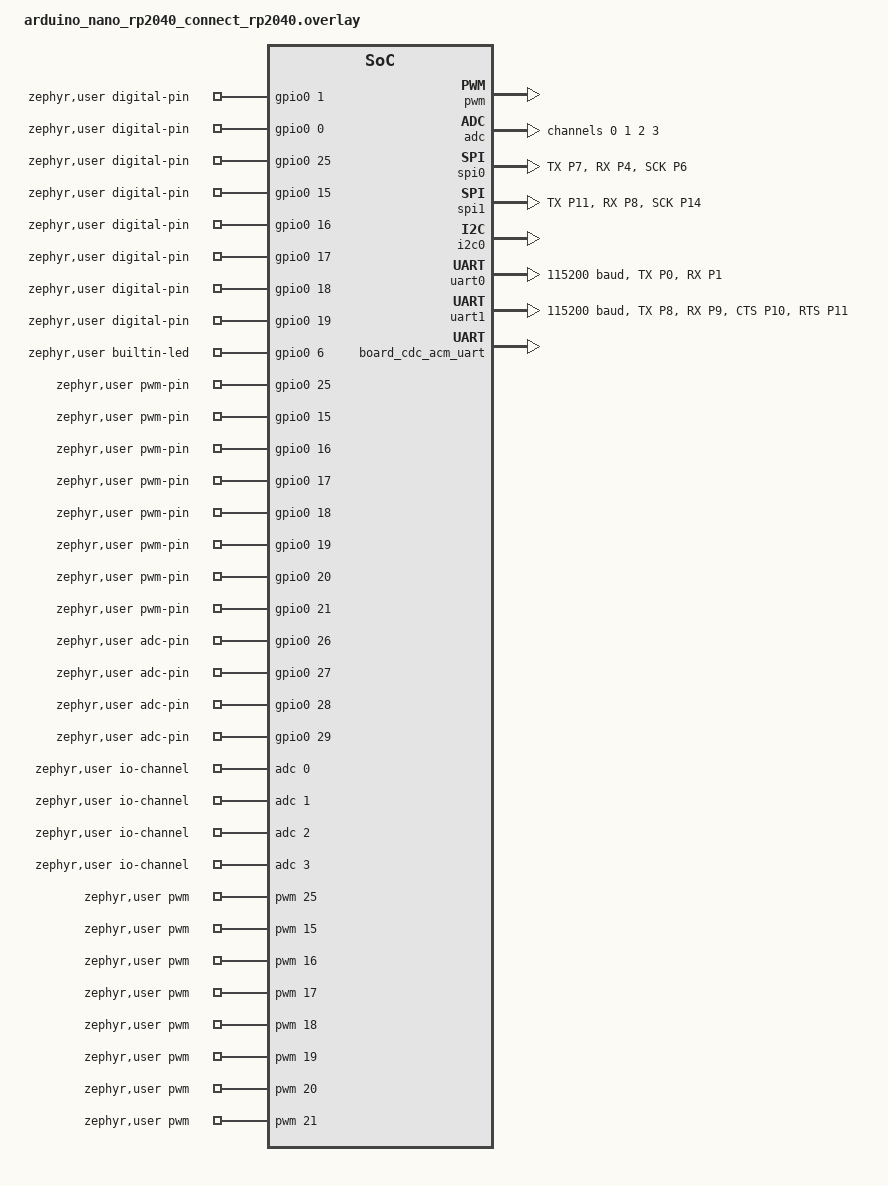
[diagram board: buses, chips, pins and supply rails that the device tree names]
/*
 * Copyright (c) 2025 Arduino SA
 *
 * SPDX-License-Identifier: Apache-2.0
 */

#include <zephyr/dt-bindings/adc/adc.h>

/ {
	zephyr,user {
		/*
		 * Arduino Nano RP2040 Connect pin mapping
		 * Arduino Pin -> RP2040 GPIO
		 */
		digital-pin-gpios = <&gpio0 1 0>,   /* D0  - RX */
				    <&gpio0 0 0>,   /* D1  - TX */
				    <&gpio0 25 0>,  /* D2 */
				    <&gpio0 15 0>,  /* D3 */
				    <&gpio0 16 0>,  /* D4 */
				    <&gpio0 17 0>,  /* D5 */
				    <&gpio0 18 0>,  /* D6 */
				    <&gpio0 19 0>,  /* D7 */
				    <&gpio0 20 0>,  /* D8 */
				    <&gpio0 21 0>,  /* D9 */
				    <&gpio0 5 0>,   /* D10 - SPI SS */
				    <&gpio0 7 0>,   /* D11 - SPI MOSI */
				    <&gpio0 4 0>,   /* D12 - SPI MISO */
				    <&gpio0 6 0>,   /* D13 - SPI SCK / LED */
				    <&gpio0 26 0>,  /* D14 / A0 */
				    <&gpio0 27 0>,  /* D15 / A1 */
				    <&gpio0 28 0>,  /* D16 / A2 */
				    <&gpio0 29 0>,  /* D17 / A3 */
				    <&gpio0 12 0>,  /* D18 / A4 / SDA */
				    <&gpio0 13 0>,  /* D19 / A5 / SCL */
				    <&gpio0 2 0>,   /* D20 - NINA GPIO0 */
				    <&gpio0 24 0>,  /* D21 - IMU IRQ */
				    <&gpio0 22 0>,  /* D22 - PDM DIN */
				    <&gpio0 23 0>,  /* D23 - PDM CLK */
				    <&gpio0 3 0>,   /* D24 - NINA RESET */
				    <&gpio0 8 0>,   /* D25 - NINA SPI MISO */
				    <&gpio0 9 0>,   /* D26 - NINA SPI CS */
				    <&gpio0 10 0>,  /* D27 - NINA SPI ACK */
				    <&gpio0 11 0>,  /* D28 - NINA SPI MOSI */
				    <&gpio0 14 0>;  /* D29 - NINA SPI SCK */

		builtin-led-gpios = <&gpio0 6 0>;  /* D13 = GPIO6 */

		/*
		 * PWM-capable pins on Arduino Nano RP2040 Connect
		 * Listed by Arduino pin number with corresponding GPIO
		 */
		pwm-pin-gpios =     <&gpio0 25 0>,  /* D2  -> GPIO25 -> PWM4B */
				    <&gpio0 15 0>,  /* D3  -> GPIO15 -> PWM7B */
				    <&gpio0 16 0>,  /* D4  -> GPIO16 -> PWM0A */
				    <&gpio0 17 0>,  /* D5  -> GPIO17 -> PWM0B */
				    <&gpio0 18 0>,  /* D6  -> GPIO18 -> PWM1A */
				    <&gpio0 19 0>,  /* D7  -> GPIO19 -> PWM1B */
				    <&gpio0 20 0>,  /* D8  -> GPIO20 -> PWM2A */
				    <&gpio0 21 0>,  /* D9  -> GPIO21 -> PWM2B */
				    <&gpio0 5 0>,   /* D10 -> GPIO5  -> PWM2B */
				    <&gpio0 7 0>,   /* D11 -> GPIO7  -> PWM3B */
				    <&gpio0 4 0>,   /* D12 -> GPIO4  -> PWM2A */
				    <&gpio0 6 0>;   /* D13 -> GPIO6  -> PWM3A (LED) */

		adc-pin-gpios =     <&gpio0 26 0>,  /* A0 -> GPIO26 -> ADC0 */
				    <&gpio0 27 0>,  /* A1 -> GPIO27 -> ADC1 */
				    <&gpio0 28 0>,  /* A2 -> GPIO28 -> ADC2 */
				    <&gpio0 29 0>;  /* A3 -> GPIO29 -> ADC3 */

		pwms =  <&pwm 25 255 PWM_POLARITY_NORMAL>,  /* D2  GPIO25 */
			<&pwm 15 255 PWM_POLARITY_NORMAL>,  /* D3  GPIO15 */
			<&pwm 16 255 PWM_POLARITY_NORMAL>,  /* D4  GPIO16 */
			<&pwm 17 255 PWM_POLARITY_NORMAL>,  /* D5  GPIO17 */
			<&pwm 18 255 PWM_POLARITY_NORMAL>,  /* D6  GPIO18 */
			<&pwm 19 255 PWM_POLARITY_NORMAL>,  /* D7  GPIO19 */
			<&pwm 20 255 PWM_POLARITY_NORMAL>,  /* D8  GPIO20 */
			<&pwm 21 255 PWM_POLARITY_NORMAL>,  /* D9  GPIO21 */
			<&pwm 5 255 PWM_POLARITY_NORMAL>,   /* D10 GPIO5  */
			<&pwm 7 255 PWM_POLARITY_NORMAL>,   /* D11 GPIO7  */
			<&pwm 4 255 PWM_POLARITY_NORMAL>,   /* D12 GPIO4  */
			<&pwm 6 255 PWM_POLARITY_NORMAL>;   /* D13 GPIO6  */

		io-channels =   <&adc 0>,  /* A0 */
				<&adc 1>,  /* A1 */
				<&adc 2>,  /* A2 */
				<&adc 3>;  /* A3 */

		serials = <&board_cdc_acm_uart>, <&uart0>, <&uart1>;
		cdc-acm = <&board_cdc_acm_uart>;
		i2cs = <&i2c0>;
		spis = <&spi0>, <&spi1>;
	};
};

&pinctrl {
	/*
	 * PWM pin control
	 * PWM slice assignment: GPIO / 2 (integer division)
	 * PWM channel: A if GPIO even, B if GPIO odd
	 */

	/* D4 -> GPIO16 -> PWM0A */
	pwm_ch0a_default: pwm_ch0a_default {
		group1 {
			pinmux = <PWM_0A_P16>;
		};
	};

	/* D5 -> GPIO17 -> PWM0B */
	pwm_ch0b_default: pwm_ch0b_default {
		group1 {
			pinmux = <PWM_0B_P17>;
		};
	};

	/* D6 -> GPIO18 -> PWM1A */
	pwm_ch1a_default: pwm_ch1a_default {
		group1 {
			pinmux = <PWM_1A_P18>;
		};
	};

	/* D7 -> GPIO19 -> PWM1B */
	pwm_ch1b_default: pwm_ch1b_default {
		group1 {
			pinmux = <PWM_1B_P19>;
		};
	};

	/*
	  * D8 -> GPIO20 -> PWM2A,
	  * D12 -> GPIO4 -> PWM2A
	*/
	pwm_ch2a_default: pwm_ch2a_default {
		group1 {
			pinmux = <PWM_2A_P4>, <PWM_2A_P20>;
		};
	};

	/* D9 -> GPIO21 -> PWM2B, D10 -> GPIO5 -> PWM2B */
	pwm_ch2b_default: pwm_ch2b_default {
		group1 {
			pinmux = <PWM_2B_P5>, <PWM_2B_P21>;
		};
	};

	/* D13/LED -> GPIO6 -> PWM3A */
	pwm_ch3a_default: pwm_ch3a_default {
		group1 {
			pinmux = <PWM_3A_P6>;
		};
	};

	/* D11 -> GPIO7 -> PWM3B */
	pwm_ch3b_default: pwm_ch3b_default {
		group1 {
			pinmux = <PWM_3B_P7>;
		};
	};

	/* D2 -> GPIO25 -> PWM4B */
	pwm_ch4b_default: pwm_ch4b_default {
		group1 {
			pinmux = <PWM_4B_P25>;
		};
	};

	/* D3 -> GPIO15 -> PWM7B */
	pwm_ch7b_default: pwm_ch7b_default {
		group1 {
			pinmux = <PWM_7B_P15>;
		};
	};

	/*
	 * SPI0 pin control
	 * MISO (D12) -> GPIO4
	 * MOSI (D11) -> GPIO7
	 * SCK  (D13) -> GPIO6
	 * SS   (D10) -> GPIO5 (directly controlled)
	 */
	spi0_default: spi0_default {
		group1 {
			pinmux = <SPI0_TX_P7>;  /* MOSI -> GPIO7 */
		};
		group2 {
			pinmux = <SPI0_RX_P4>;  /* MISO -> GPIO4 */
			input-enable;
		};
		group3 {
			pinmux = <SPI0_SCK_P6>; /* SCK -> GPIO6 */
		};
	};

	/*
	 * SPI1 pin control (NINA WiFi module)
	 * MISO (D25) -> GPIO8
	 * MOSI (D28) -> GPIO11
	 * SCK  (D29) -> GPIO14
	 * CS   (D26) -> GPIO9 (software controlled)
	 */
	spi1_default: spi1_default {
		group1 {
			pinmux = <SPI1_TX_P11>;  /* MOSI -> GPIO11 */
		};
		group2 {
			pinmux = <SPI1_RX_P8>;   /* MISO -> GPIO8 */
			input-enable;
		};
		group3 {
			pinmux = <SPI1_SCK_P14>; /* SCK -> GPIO14 */
		};
	};

	/*
	 * I2C0 pin control
	 * SDA (D18) -> GPIO12
	 * SCL (D19) -> GPIO13
	 */
	i2c0_default: i2c0_default {
		group1 {
			pinmux = <I2C0_SDA_P12>, <I2C0_SCL_P13>;
			input-enable;
			input-schmitt-enable;
		};
	};

	/*
	 * UART0 pin control
	 * RX (D0) -> GPIO1
	 * TX (D1) -> GPIO0
	 */
	uart0_default: uart0_default {
		group1 {
			pinmux = <UART0_TX_P0>;
		};
		group2 {
			pinmux = <UART0_RX_P1>;
			input-enable;
		};
	};

	/*
	 * UART1 pin control (NINA WiFi module)
	 * TX  (D25) -> GPIO8
	 * RX  (D26) -> GPIO9
	 * CTS (D27) -> GPIO10
	 * RTS (D28) -> GPIO11
	 */
	uart1_default: uart1_default {
		group1 {
			pinmux = <UART1_TX_P8>;
		};
		group2 {
			pinmux = <UART1_RX_P9>;
			input-enable;
		};
		group3 {
			pinmux = <UART1_CTS_P10>;
			input-enable;
		};
		group4 {
			pinmux = <UART1_RTS_P11>;
		};
	};
};

&pwm {
	status = "okay";
	divider-frac-4 = <15>;
	divider-int-4 = <255>;
};

&adc {
	#address-cells = <1>;
	#size-cells = <0>;

	/* A0 -> GPIO26 -> ADC0 */
	channel@0 {
		reg = <0>;
		zephyr,gain = "ADC_GAIN_1";
		zephyr,reference = "ADC_REF_INTERNAL";
		zephyr,acquisition-time = <ADC_ACQ_TIME_DEFAULT>;
		zephyr,resolution = <12>;
	};

	/* A1 -> GPIO27 -> ADC1 */
	channel@1 {
		reg = <1>;
		zephyr,gain = "ADC_GAIN_1";
		zephyr,reference = "ADC_REF_INTERNAL";
		zephyr,acquisition-time = <ADC_ACQ_TIME_DEFAULT>;
		zephyr,resolution = <12>;
	};

	/* A2 -> GPIO28 -> ADC2 */
	channel@2 {
		reg = <2>;
		zephyr,gain = "ADC_GAIN_1";
		zephyr,reference = "ADC_REF_INTERNAL";
		zephyr,acquisition-time = <ADC_ACQ_TIME_DEFAULT>;
		zephyr,resolution = <12>;
	};

	/* A3 -> GPIO29 -> ADC3 */
	channel@3 {
		reg = <3>;
		zephyr,gain = "ADC_GAIN_1";
		zephyr,reference = "ADC_REF_INTERNAL";
		zephyr,acquisition-time = <ADC_ACQ_TIME_DEFAULT>;
		zephyr,resolution = <12>;
	};
};

/*
 * SPI0 configuration
 * MISO (D12) -> GPIO4
 * MOSI (D11) -> GPIO7
 * SCK  (D13) -> GPIO6
 */
&spi0 {
	status = "okay";
	pinctrl-0 = <&spi0_default>;
	pinctrl-names = "default";
};

/*
 * SPI1 configuration (NINA WiFi module)
 * MISO (D25) -> GPIO8
 * MOSI (D28) -> GPIO11
 * SCK  (D29) -> GPIO14
 */
&spi1 {
	status = "okay";
	pinctrl-0 = <&spi1_default>;
	pinctrl-names = "default";
};

/*
 * I2C0 configuration
 * SDA (D18) -> GPIO12
 * SCL (D19) -> GPIO13
 */
&i2c0 {
	status = "okay";
	pinctrl-0 = <&i2c0_default>;
	pinctrl-names = "default";
};

/*
 * UART0 configuration
 * RX (D0) -> GPIO1
 * TX (D1) -> GPIO0
 */
&uart0 {
	status = "okay";
	pinctrl-0 = <&uart0_default>;
	pinctrl-names = "default";
	current-speed = <115200>;
};

/*
 * UART1 configuration (NINA WiFi module)
 * TX  (D25) -> GPIO8
 * RX  (D26) -> GPIO9
 * CTS (D27) -> GPIO10
 * RTS (D28) -> GPIO11
 */
&uart1 {
	status = "okay";
	pinctrl-0 = <&uart1_default>;
	pinctrl-names = "default";
	current-speed = <115200>;
	hw-flow-control;
};

&zephyr_udc0 {
	board_cdc_acm_uart: board_cdc_acm_uart {
		compatible = "zephyr,cdc-acm-uart";
		status = "okay";
	};
};

&flash0 {
	partitions {
		user_sketch: partition@e0000 {
			reg = <0x0E0000 0x20000>;
		};
	};
};
